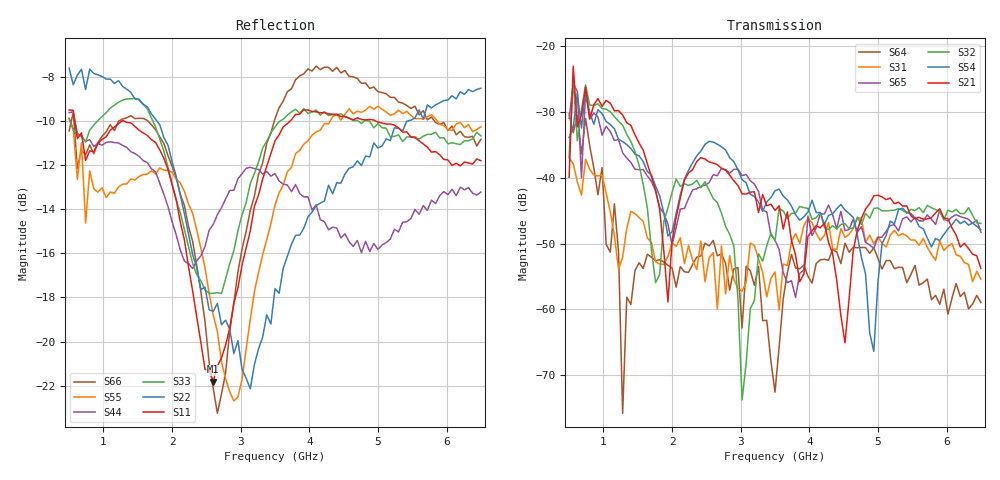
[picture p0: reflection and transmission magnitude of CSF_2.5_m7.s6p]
!Keysight Technologies,M9804A,MY58100912,A.14.10.03
!Date: Thursday, April 27, 2023 10:28:33
!Correction: S11(C  6-Port  )
!S12(C  6-Port  )
!S13(C  6-Port  )
!S14(C  6-Port  )
!S15(C  6-Port  )
!S16(C  6-Port  )
!S21(C  6-Port  )
!S22(C  6-Port  )
!S23(C  6-Port  )
!S24(C  6-Port  )
!S25(C  6-Port  )
!S26(C  6-Port  )
!S31(C  6-Port  )
!S32(C  6-Port  )
!S33(C  6-Port  )
!S34(C  6-Port  )
!S35(C  6-Port  )
!S36(C  6-Port  )
!S41(C  6-Port  )
!S42(C  6-Port  )
!S43(C  6-Port  )
!S44(C  6-Port  )
!S45(C  6-Port  )
!S46(C  6-Port  )
!S51(C  6-Port  )
!S52(C  6-Port  )
!S53(C  6-Port  )
!S54(C  6-Port  )
!S55(C  6-Port  )
!S56(C  6-Port  )
!S61(C  6-Port  )
!S62(C  6-Port  )
!S63(C  6-Port  )
!S64(C  6-Port  )
!S65(C  6-Port  )
!S66(C  6-Port  )
!S6P File: Measurement: :
# Hz S  RI  R 50
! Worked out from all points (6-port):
!   101 points, 500 MHz to 6.5 GHz, reference 50 ohm
!   strongest paths, dB at 500 MHz, 2 GHz, 3.5 GHz, 5 GHz, 6.5 GHz:
!     S21: -39.9, -49.7, -44.9, -42.6, -53.8
!     S54: -33.9, -48.2, -42.0, -55.9, -47.9
!     S32: -36.8, -42.2, -49.6, -44.6, -46.9
!     S65: -30.9, -50.2, -49.5, -49.1, -48.3
!     S31: -37.0, -49.9, -54.3, -48.9, -55.4
!     S64: -30.3, -53.7, -72.6, -52.3, -59.0
!   lowest |S11| = -21.8 dB at 2.6 GHz (marker M1), VSWR 1.18, Z = 42.7 + j1.93 ohm
!   |S11| at or under -10 dB: 582.3 MHz to 1.271 GHz (688.7 MHz wide, 74.3 % of centre); 1.294 GHz to 3.722 GHz (2.427 GHz wide, 96.8 % of centre); 4.964 GHz to end of sweep
